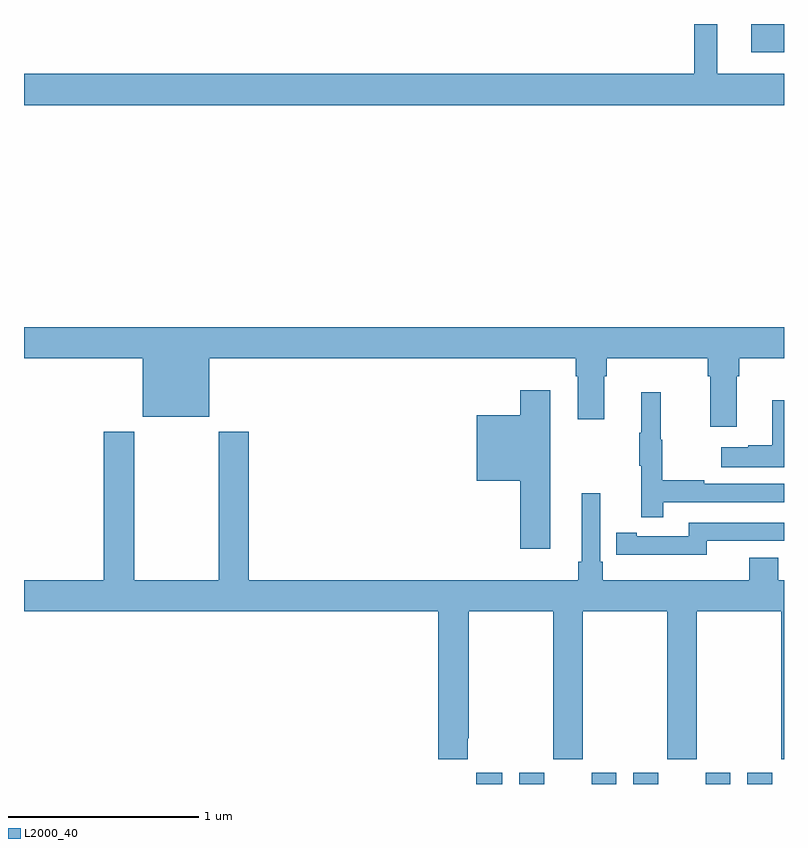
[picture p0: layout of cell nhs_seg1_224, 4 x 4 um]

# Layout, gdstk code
import gdstk
lib = gdstk.Library(unit=1e-6, precision=1e-09)
def R(c, l, rs):  # rectangles x0, y0, x1, y1
    for r in rs: c.add(gdstk.rectangle(r[:2], r[2:], *l))
def P(c, l, *ps):  # polygons
    for p in ps: c.add(gdstk.Polygon(p, *l))
L2000_40 = (2000, 40)

nhs_seg1_224 = lib.new_cell('nhs_seg1_224')
R(nhs_seg1_224, L2000_40, [(125.381,508.199,125.518,508.258), (125.606,508.199,125.737,508.258), (125.987,508.199,126.118,508.258), (126.206,508.199,126.337,508.258), (126.587,508.199,126.718,508.258), (126.806,508.199,126.937,508.258), (126.827,512.051,127,512.199)])
P(nhs_seg1_224, L2000_40, [(127,511.936),(126.649,511.936),(126.649,512.199),(126.528,512.199),(126.528,511.936),(123,511.936),(123,511.772),(127,511.772)],
  [(126.751,510.344),(126.764,510.344),(126.764,510.44),(127,510.44),(127,510.604),(123,510.604),(123,510.44),(123.626,510.44),(123.626,510.131),(123.976,510.131),(123.976,510.44),(125.903,510.44),(125.903,510.344),(125.915,510.344),(125.915,510.12),(126.055,510.12),(126.055,510.344),(126.068,510.344),(126.068,510.44),(126.599,510.44),(126.599,510.344),(126.611,510.344),(126.611,510.078),(126.751,510.078)],
  [(125.77,510.271),(125.612,510.271),(125.612,510.139),(125.384,510.139),(125.384,509.795),(125.612,509.795),(125.612,509.436),(125.77,509.436)],
  [(126.365,509.682),(127,509.682),(127,509.778),(126.581,509.778),(126.581,509.798),(126.358,509.798),(126.358,510.012),(126.35,510.012),(126.35,510.262),(126.248,510.262),(126.248,510.049),(126.237,510.049),(126.237,509.875),(126.248,509.875),(126.248,509.604),(126.365,509.604)],
  [(127,510.22),(126.938,510.22),(126.938,509.981),(126.812,509.981),(126.812,509.971),(126.669,509.971),(126.669,509.867),(127,509.867)],
  [(125.335,508.441),(125.34,508.441),(125.34,509.108),(125.785,509.108),(125.785,508.329),(125.94,508.329),(125.94,509.108),(126.385,509.108),(126.385,508.329),(126.54,508.329),(126.54,509.108),(126.985,509.108),(126.985,508.329),(127,508.329),(127,509.272),(126.971,509.272),(126.971,509.389),(126.818,509.389),(126.818,509.272),(126.047,509.272),(126.047,509.368),(126.033,509.368),(126.033,509.728),(125.936,509.728),(125.936,509.368),(125.917,509.368),(125.917,509.272),(124.184,509.272),(124.184,510.052),(124.024,510.052),(124.024,509.272),(123.579,509.272),(123.579,510.052),(123.419,510.052),(123.419,509.272),(123,509.272),(123,509.108),(125.18,509.108),(125.18,508.329),(125.335,508.329)],
  [(126.594,509.478),(127,509.478),(127,509.574),(126.498,509.574),(126.498,509.502),(126.226,509.502),(126.226,509.522),(126.118,509.522),(126.118,509.406),(126.226,509.406),(126.226,509.405),(126.594,509.405)])

lib.write_gds('nhs_seg1_224.gds')
